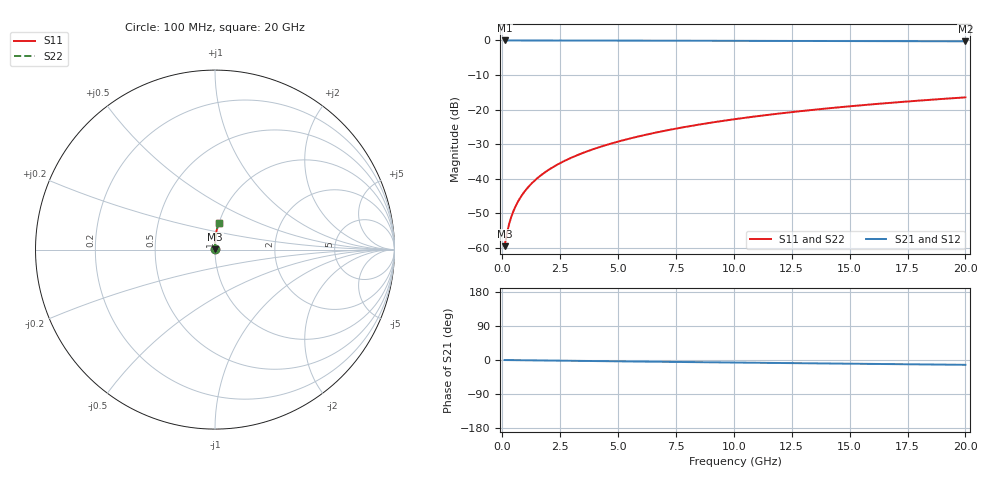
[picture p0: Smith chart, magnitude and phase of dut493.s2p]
! Touchstone file exported from HFSS 2024.1.0
!  File:  C:/UserFiles/LocalFiles/RDL_TSV_Batchsim/temp_RDL_bottom_493_1779686903.aedt
!  Generated:  01:30:55 PM May 25, 2026
!  Design:  RDL_bottom
!  Project:  temp_RDL_bottom_493_1779686903
!  Setup:  Setup1
!  Solution:  Sweep
! Variables:
!  dtsv = 10.80580581um
!  hbump = 3um
!  htsv = 86.54um
!  ldown = 138.25um
!  lrdl = 100um
!  p = 40
!  p1 = 53.95um
!  rhole = 1um
!  t = 450um
!  tdown = 3.84um
!  trdl = 3.915915916um
!  wdown = 22.58um
!  wrdl = 20um
# GHz S MA R 50.000000
! Terminal data exported
! Port[1] = RDL1_T1
! Port[2] = RDL1_T2
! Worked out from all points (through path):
!   200 points, 100 MHz to 20 GHz, reference 50 ohm
!   highest |S21| = -0.01 dB at 100 MHz (marker M1); lowest = -0.3 dB at 20 GHz (marker M2)
!   group delay of S21, straight-line fit = 1.75 ps
!   lowest |S11| = -59.6 dB at 100 MHz (marker M3), VSWR 1.00, Z = 50.1 + j0.0715 ohm
!   |S11| at or under -10 dB: start of sweep to end of sweep
!   |S22| runs from -59.6 to -16.5 dB; largest |S21 - S12| = 4.2e-15
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0.1  0.00105 42.8  0.9992 -0.1  0.9992 -0.1  0.00105 42.8
! Gamma 0 0 0 0
! Port Impedance 50 0 50 0
0.2  0.001619 60.2  0.9992 -0.2  0.9992 -0.2  0.001619 60.2
0.3  0.002238 68.1  0.9991 -0.2  0.9991 -0.2  0.002238 68.1
0.4  0.002868 72.6  0.9991 -0.3  0.9991 -0.3  0.002868 72.6
0.5  0.003504 75.6  0.9991 -0.4  0.9991 -0.4  0.003504 75.6
0.6  0.004144 77.7  0.999 -0.4  0.999 -0.4  0.004144 77.7
0.8  0.005435 80.7  0.9989 -0.6  0.9989 -0.6  0.005435 80.7
1.1  0.007395 83.3  0.9988 -0.8  0.9988 -0.8  0.007395 83.3
1.5  0.01004 85.3  0.9986 -1.1  0.9986 -1.1  0.01004 85.3
1.8  0.01204 86.2  0.9984 -1.3  0.9984 -1.3  0.01204 86.2
2.1  0.01405 87.0  0.9981 -1.5  0.9981 -1.5  0.01405 87.0
2.7  0.01812 88.0  0.9976 -1.9  0.9976 -1.9  0.01812 88.0
3.5  0.02364 88.8  0.9966 -2.5  0.9966 -2.5  0.02364 88.8
4.2  0.02856 89.2  0.9957 -3.0  0.9957 -3.0  0.02856 89.2
5  0.0343 89.4  0.9946 -3.5  0.9946 -3.5  0.0343 89.4
5.9  0.04088 89.5  0.9932 -4.1  0.9932 -4.1  0.04088 89.5
6.8  0.04759 89.4  0.9918 -4.7  0.9918 -4.7  0.04759 89.4
8.4  0.05976 88.9  0.9892 -5.7  0.9892 -5.7  0.05976 88.9
10.1  0.07292 88.0  0.9864 -6.8  0.9864 -6.8  0.07292 88.0
13.4  0.09873 86.0  0.9813 -8.8  0.9813 -8.8  0.09873 86.0
16.7  0.1245 83.7  0.9762 -10.8  0.9762 -10.8  0.1245 83.7
20  0.1499 81.3  0.9711 -12.7  0.9711 -12.7  0.1499 81.3
